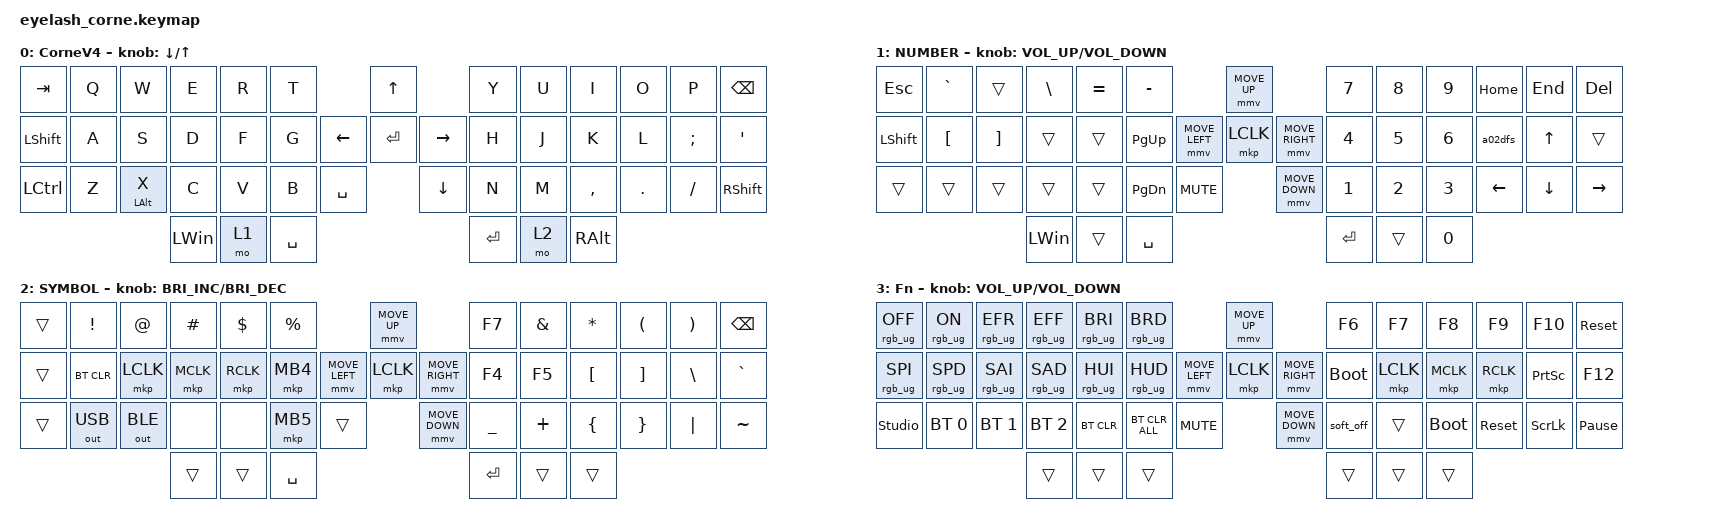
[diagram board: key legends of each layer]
#include <dt-bindings/zmk/mouse.h>
#include <input/processors.dtsi>
#include <behaviors.dtsi>
#include <dt-bindings/zmk/bt.h>
#include <dt-bindings/zmk/keys.h>
#include <dt-bindings/zmk/outputs.h>
#include <dt-bindings/zmk/pointing.h>
#include <dt-bindings/zmk/rgb.h>

/*

   &mmv_input_listener {
       input-processors = <&zip_xy_scaler 2 1>;
   };

   &msc_input_listener {
       input-processors = <&zip_xy_scaler 2 1>;
   };

 */

#define ZMK_MOUSE_DEFAULT_MOVE_VAL 1200  // 600
#define ZMK_MOUSE_DEFAULT_SCRL_VAL 20    // 10

&inc_dec_kp {
    bindings = <&kp>, <&kp>;
};

&mt {
    tapping-term-ms = <500>; // This is the value set for c to alt
};

/ {
    behaviors {
        td0: td0 {
            compatible = "zmk,behavior-tap-dance";
            display-name = "Shift/Caps Lock Tap Dance";
            #binding-cells = <0>;
            bindings = <&kp LEFT_SHIFT>, <&kp CAPS>;
        };

        new_behavior: new_behavior {
            compatible = "zmk,behavior-sensor-rotate-var";
            label = "NEW_BEHAVIOR";
            #sensor-binding-cells = <2>;
            bindings = <&msc>, <&msc>;
        };
    };

    rgb_encoder: rgb_encoder {
        compatible = "zmk,behavior-sensor-rotate";
        #sensor-binding-cells = <0>;
        bindings = <&rgb_ug RGB_BRI>, <&rgb_ug RGB_BRD>;
    };

    scroll_encoder: scroll_encoder {
        compatible = "zmk,behavior-sensor-rotate";
        #sensor-binding-cells = <0>;
        bindings = <&msc SCRL_DOWN>, <&msc SCRL_UP>;

        tap-ms = <30>;
    };

    combos {
        compatible = "zmk,combos";

        at {
            bindings = <&kp AT_SIGN>;
            key-positions = <2 15>;
        };

        escape {
            bindings = <&kp ESCAPE>;
            key-positions = <14 33>;
        };

        delete {
            bindings = <&kp DELETE>;
            key-positions = <16 25>;
        };

        percent {
            bindings = <&kp PERCENT>;
            key-positions = <5 18>;
        };

        equals {
            bindings = <&kp KP_EQUAL>;
            key-positions = <17 32>;
        };

        dollar {
            bindings = <&kp DOLLAR>;
            key-positions = <4 17>;
        };

        hash {
            bindings = <&kp POUND>;
            key-positions = <3 16>;
        };

        backslash {
            bindings = <&kp BACKSLASH>;
            key-positions = <15 30>;
        };

        copy {
            bindings = <&kp K_COPY>;
            key-positions = <30 31>;
        };

        paste {
            bindings = <&kp K_PASTE>;
            key-positions = <31 32>;
        };

        star {
            bindings = <&kp ASTRK>;
            key-positions = <9 24>;
        };

        fslash {
            bindings = <&kp KP_SLASH>;
            key-positions = <24 38>;
        };

        plus {
            bindings = <&kp PLUS>;
            key-positions = <8 23>;
        };

        minus {
            bindings = <&kp KP_MINUS>;
            key-positions = <23 37>;
        };

        underscore {
            bindings = <&kp UNDERSCORE>;
            key-positions = <22 36>;
        };

        openbracket {
            bindings = <&kp LEFT_PARENTHESIS>;
            key-positions = <23 24>;
        };

        closebracket {
            bindings = <&kp RIGHT_PARENTHESIS>;
            key-positions = <24 25>;
        };

        exclaim {
            bindings = <&kp EXCL>;
            key-positions = <1 14>;
        };
    };

    macros {
        a02dfs: a02dfs {
            compatible = "zmk,behavior-macro";
            #binding-cells = <0>;
            bindings = <&kp BSLH &kp BSLH &kp LS(A) &kp N0 &kp N2 &kp DOT &kp C &kp I &kp S &kp H &kp O &kp C &kp DOT &kp C &kp O &kp M &kp BSLH &kp D &kp F &kp S>;
            label = "A02DFS";
        };
    };

    keymap {
        compatible = "zmk,keymap";

        BASE {
            display-name = "CorneV4";
            bindings = <
&kp TAB         &kp Q  &kp W       &kp E         &kp R  &kp T                             &kp UP                &kp Y      &kp U  &kp I      &kp O    &kp P     &kp BSPC
&kp LEFT_SHIFT  &kp A  &kp S       &kp D         &kp F  &kp G                   &kp LEFT  &kp ENTER  &kp RIGHT  &kp H      &kp J  &kp K      &kp L    &kp SEMI  &kp SQT
&kp LCTRL       &kp Z  &mt LALT X  &kp C         &kp V  &kp B      &kp SPACE              &kp DOWN              &kp N      &kp M  &kp COMMA  &kp DOT  &kp FSLH  &kp RIGHT_SHIFT
                                   &kp LEFT_WIN  &mo 1  &kp SPACE                                               &kp ENTER  &mo 2  &kp RALT
            >;

            sensor-bindings = <&inc_dec_kp DOWN_ARROW UP_ARROW>;
        };

        NavNum {
            display-name = "NUMBER";
            bindings = <
&kp ESC         &kp GRAVE         &trans             &kp BACKSLASH  &kp EQUAL  &kp MINUS                                    &mmv MOVE_UP                     &kp N7        &kp N8        &kp N9        &kp HOME        &kp END         &kp DEL
&kp LEFT_SHIFT  &kp LEFT_BRACKET  &kp RIGHT_BRACKET  &trans         &trans     &kp PAGE_UP                  &mmv MOVE_LEFT  &mkp LCLK       &mmv MOVE_RIGHT  &kp NUMBER_4  &kp N5        &kp NUMBER_6  &a02dfs         &kp UP_ARROW    &trans
&trans          &trans            &trans             &trans         &trans     &kp PAGE_DOWN  &kp C_MUTE                    &mmv MOVE_DOWN                   &kp NUMBER_1  &kp NUMBER_2  &kp NUMBER_3  &kp LEFT_ARROW  &kp DOWN_ARROW  &kp RIGHT_ARROW
                                                     &kp LEFT_WIN   &trans     &kp SPACE                                                                     &kp ENTER     &trans        &kp N0
            >;

            sensor-bindings = <&inc_dec_kp C_VOLUME_UP C_VOLUME_DOWN>;
        };

        Symbol {
            display-name = "SYMBOL";
            bindings = <
&trans  &kp EXCL      &kp AT        &kp HASH   &kp DLLR   &kp PRCNT                            &mmv MOVE_UP                     &kp F7     &kp AMPS  &kp ASTRK  &kp LPAR  &kp RPAR  &kp BSPC
&trans  &bt BT_CLR    &mkp LCLK     &mkp MCLK  &mkp RCLK  &mkp MB4             &mmv MOVE_LEFT  &mkp LCLK       &mmv MOVE_RIGHT  &kp F4     &kp F5    &kp LBKT   &kp RBKT  &kp BSLH  &kp GRAVE
&trans  &out OUT_USB  &out OUT_BLE  &none      &none      &mkp MB5   &trans                    &mmv MOVE_DOWN                   &kp UNDER  &kp PLUS  &kp LBRC   &kp RBRC  &kp PIPE  &kp TILDE
                                    &trans     &trans     &kp SPACE                                                             &kp RET    &trans    &trans
            >;

            sensor-bindings = <&inc_dec_kp C_BRIGHTNESS_INC C_BRIGHTNESS_DEC>;
        };

        Functions {
            display-name = "Fn";
            bindings = <
&rgb_ug RGB_OFF  &rgb_ug RGB_ON   &rgb_ug RGB_EFR  &rgb_ug RGB_EFF  &rgb_ug RGB_BRI  &rgb_ug RGB_BRD                                &mmv MOVE_UP                     &kp F6       &kp F7     &kp F8       &kp F9      &kp F10          &sys_reset
&rgb_ug RGB_SPI  &rgb_ug RGB_SPD  &rgb_ug RGB_SAI  &rgb_ug RGB_SAD  &rgb_ug RGB_HUI  &rgb_ug RGB_HUD                &mmv MOVE_LEFT  &mkp LCLK       &mmv MOVE_RIGHT  &bootloader  &mkp LCLK  &mkp MCLK    &mkp RCLK   &kp PRINTSCREEN  &kp F12
&studio_unlock   &bt BT_SEL 0     &bt BT_SEL 1     &bt BT_SEL 2     &bt BT_CLR       &bt BT_CLR_ALL   &kp C_MUTE                    &mmv MOVE_DOWN                   &soft_off    &trans     &bootloader  &sys_reset  &kp SCROLLLOCK   &kp PAUSE_BREAK
                                                   &trans           &trans           &trans                                                                          &trans       &trans     &trans
            >;

            sensor-bindings = <&inc_dec_kp C_VOLUME_UP C_VOLUME_DOWN>;
        };
    };

    conditional_layers {
        compatible = "zmk,conditional-layers";

        Layer3 {
            if-layers = <1 2>;
            then-layer = <3>;
        };
    };
};
